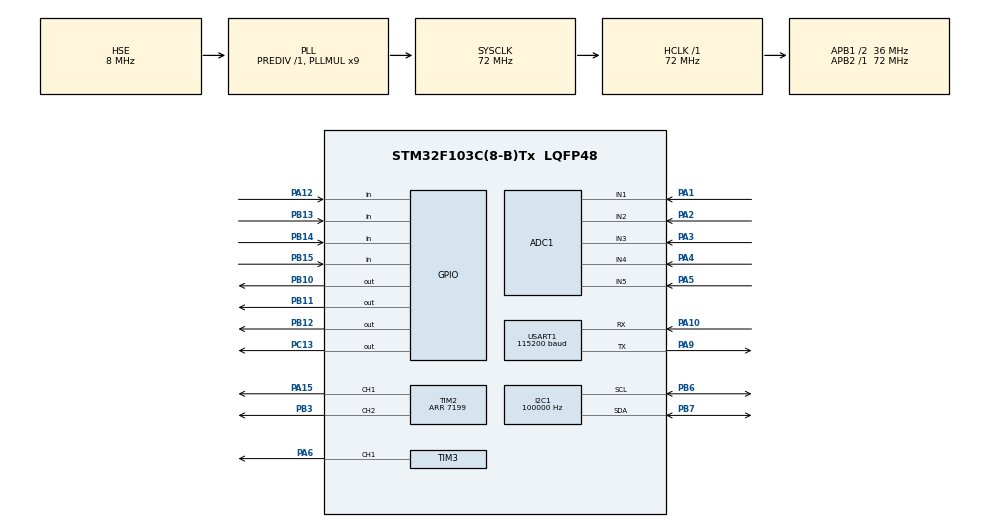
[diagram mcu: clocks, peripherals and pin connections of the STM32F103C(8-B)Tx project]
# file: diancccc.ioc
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ADC1.Channel-10\#ChannelRegularConversion=ADC_CHANNEL_4
ADC1.Channel-11\#ChannelRegularConversion=ADC_CHANNEL_5
ADC1.Channel-7\#ChannelRegularConversion=ADC_CHANNEL_1
ADC1.Channel-8\#ChannelRegularConversion=ADC_CHANNEL_2
ADC1.Channel-9\#ChannelRegularConversion=ADC_CHANNEL_3
ADC1.ContinuousConvMode=ENABLE
ADC1.NbrOfConversion=5
ADC1.NbrOfConversionFlag=1
ADC1.Rank-10\#ChannelRegularConversion=4
ADC1.Rank-11\#ChannelRegularConversion=5
ADC1.Rank-7\#ChannelRegularConversion=1
ADC1.Rank-8\#ChannelRegularConversion=2
ADC1.Rank-9\#ChannelRegularConversion=3
ADC1.SamplingTime-10\#ChannelRegularConversion=ADC_SAMPLETIME_13CYCLES_5
ADC1.SamplingTime-11\#ChannelRegularConversion=ADC_SAMPLETIME_13CYCLES_5
ADC1.SamplingTime-7\#ChannelRegularConversion=ADC_SAMPLETIME_13CYCLES_5
ADC1.SamplingTime-8\#ChannelRegularConversion=ADC_SAMPLETIME_13CYCLES_5
ADC1.SamplingTime-9\#ChannelRegularConversion=ADC_SAMPLETIME_13CYCLES_5
ADC1.master=1
Dma.ADC1.0.Direction=DMA_PERIPH_TO_MEMORY
Dma.ADC1.0.Instance=DMA1_Channel1
Dma.ADC1.0.MemDataAlignment=DMA_MDATAALIGN_HALFWORD
Dma.ADC1.0.MemInc=DMA_MINC_ENABLE
Dma.ADC1.0.Mode=DMA_CIRCULAR
Dma.ADC1.0.PeriphDataAlignment=DMA_PDATAALIGN_HALFWORD
Dma.ADC1.0.PeriphInc=DMA_PINC_DISABLE
Dma.ADC1.0.Priority=DMA_PRIORITY_LOW
Dma.Request0=ADC1
I2C1.ClockSpeed=100000
Mcu.Family=STM32F1
Mcu.Name=STM32F103C(8-B)Tx
Mcu.Package=LQFP48
NVIC.DMA1_Channel1_IRQn=true\:0\:0\:false\:false\:true\:false\:true\:true
NVIC.PriorityGroup=NVIC_PRIORITYGROUP_4
NVIC.TIM4_IRQn=true\:0\:0\:false\:false\:true\:true\:true\:true
NVIC.USART1_IRQn=true\:0\:0\:false\:false\:true\:true\:true\:true
PA1.Signal=ADCx_IN1
PA10.Mode=Asynchronous
PA10.Signal=USART1_RX
PA12.Signal=GPIO_Input
PA13.Mode=Serial_Wire
PA13.Signal=SYS_JTMS-SWDIO
PA14.Mode=Serial_Wire
PA14.Signal=SYS_JTCK-SWCLK
PA15.Signal=S_TIM2_CH1_ETR
PA2.Signal=ADCx_IN2
PA3.Signal=ADCx_IN3
PA4.Signal=ADCx_IN4
PA5.Signal=ADCx_IN5
PA6.Signal=S_TIM3_CH1
PA9.Mode=Asynchronous
PA9.Signal=USART1_TX
PB10.Signal=GPIO_Output
PB11.Signal=GPIO_Output
PB12.Signal=GPIO_Output
PB13.Signal=GPIO_Input
PB14.Signal=GPIO_Input
PB15.GPIO_PuPd=GPIO_PULLUP
PB15.Signal=GPIO_Input
PB3.Signal=S_TIM2_CH2
PB6.Mode=I2C
PB6.Signal=I2C1_SCL
PB7.Mode=I2C
PB7.Signal=I2C1_SDA
PC13-TAMPER-RTC.Signal=GPIO_Output
PD0-OSC_IN.Mode=HSE-External-Oscillator
PD0-OSC_IN.Signal=RCC_OSC_IN
PD1-OSC_OUT.Mode=HSE-External-Oscillator
PD1-OSC_OUT.Signal=RCC_OSC_OUT
ProjectManager.HeapSize=0x200
ProjectManager.StackSize=0x400
ProjectManager.TargetToolchain=MDK-ARM V5.32
RCC.ADCPresc=RCC_ADCPCLK2_DIV6
RCC.AHBFreq_Value=72000000
RCC.APB1CLKDivider=RCC_HCLK_DIV2
RCC.APB1Freq_Value=36000000
RCC.APB1TimFreq_Value=72000000
RCC.APB2Freq_Value=72000000
RCC.APB2TimFreq_Value=72000000
RCC.HCLKFreq_Value=72000000
RCC.PLLMUL=RCC_PLL_MUL9
RCC.PLLSourceVirtual=RCC_PLLSOURCE_HSE
RCC.SYSCLKFreq_VALUE=72000000
RCC.SYSCLKSource=RCC_SYSCLKSOURCE_PLLCLK
RCC.USBFreq_Value=72000000
SH.ADCx_IN1.0=ADC1_IN1,IN1
SH.ADCx_IN2.0=ADC1_IN2,IN2
SH.ADCx_IN3.0=ADC1_IN3,IN3
SH.ADCx_IN4.0=ADC1_IN4,IN4
SH.ADCx_IN5.0=ADC1_IN5,IN5
SH.S_TIM2_CH1_ETR.0=TIM2_CH1,PWM Generation1 CH1
SH.S_TIM2_CH2.0=TIM2_CH2,PWM Generation2 CH2
SH.S_TIM3_CH1.0=TIM3_CH1,PWM Generation1 CH1
TIM2.Channel-PWM\ Generation1\ CH1=TIM_CHANNEL_1
TIM2.Channel-PWM\ Generation2\ CH2=TIM_CHANNEL_2
TIM2.Period=7199
TIM3.Channel-PWM\ Generation1\ CH1=TIM_CHANNEL_1
TIM3.Period=19999
TIM3.Prescaler=71
TIM4.Period=9999
TIM4.Prescaler=71
USART1.BaudRate=115200
USART1.VirtualMode=VM_ASYNC
VP_TIM2_VS_ClockSourceINT.Mode=Internal
VP_TIM3_VS_ClockSourceINT.Mode=Internal
VP_TIM4_VS_ClockSourceINT.Mode=Internal
board=custom

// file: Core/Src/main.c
/* USER CODE BEGIN Header */
/**
  ******************************************************************************
  * @file           : main.c
  * @brief          : Main program body
  ******************************************************************************
  * @attention
  *
  * Copyright (c) 2024 STMicroelectronics.
  * All rights reserved.
  *
  * This software is licensed under terms that can be found in the LICENSE file
  * in the root directory of this software component.
  * If no LICENSE file comes with this software, it is provided AS-IS.
  *
  ******************************************************************************
  */
/* USER CODE END Header */
#include "main.h"
#include "adc.h"
#include "dma.h"
#include "i2c.h"
#include "tim.h"
#include "usart.h"
#include "gpio.h"

/* USER CODE BEGIN Includes */
#include "adc1.h"
#include "oled.h"
#include <stdio.h>
#include "usart1.h"
/* USER CODE END Includes */

/* USER CODE BEGIN PTD */
int key_flag,count,time,moshi;
int huoer_flag=0;
char str[80]={0};
int i=0,b=0,c=0;
int time_flag_h,h;
int pppwww;
int flag_s=0;
int shizhi_flag=0;
int aa,aa1,aa2=0;
int sudu=3000;
int fputc(int ch, FILE *f)
{
HAL_UART_Transmit (&huart1 ,(uint8_t *)&ch,1,0xFFFF);
	return ch;

}
void key(void)
{
   if((HAL_GPIO_ReadPin(GPIOB, GPIO_PIN_15)==GPIO_PIN_RESET)&&key_flag==0)
	 {
	     key_flag=1;
	 }
   if((HAL_GPIO_ReadPin(GPIOB, GPIO_PIN_15)==GPIO_PIN_SET)&&key_flag==1)
	 {
	     key_flag=0;
		   count=0;
		   time=0;
		   moshi++;
		   if(moshi==3)
			 {
			    moshi=0;
			 }
	 }
}
void oled_disp(void)
{

	    sprintf(str,"%04d        %04d",adc_val [0], adc_val [4]);
      OLED_ShowString(0,0,(uint8_t*)str,12);
		  sprintf(str,"   %04d  %04d  ",adc_val [1], adc_val [2]);
      OLED_ShowString(0,1,(uint8_t*)str,12);
		  sprintf(str,"      %04d  ", adc_val [3]);
      OLED_ShowString(0,2,(uint8_t*)str,12);
	    sprintf(str,"    %.2f %.2f  ", AD_left2,AD_right2);
      OLED_ShowString(0,3,(uint8_t*)str,12);
      sprintf(str,"    %.2f   ", position_2 );
      OLED_ShowString(0,4,(uint8_t*)str,12);
      sprintf(str,"    %d %d ", b,aa );
      OLED_ShowString(0,5,(uint8_t*)str,12);
}
void huandao (void )
{
if(adc_val [4]>=1800&&adc_val[2]>=2500&&b==0)
{
	b=1;
flag_s=1;
}
if(adc_val [4]>=1800&&adc_val[2]>=2500&&b==2)
{
	c=0;
	b=0;
flag_s=0;
}

}
void sancai(void)
{
	if((adc_val [0]>=600&&adc_val [4]>=600&&adc_val [2]<900&&adc_val [1]<900)&&aa==0)
	{
	flag_s=2;
	}
	if((adc_val [0]>=600&&adc_val [4]>=600&&adc_val [2]<1000&&adc_val [1]<1000)&&aa==1 )
	{
	flag_s=3;

	}

}
void shizhi(void )
{
if(adc_val [3]>=2000)
{
 flag_s=2;
	shizhi_flag=1;
}
if(adc_val [3]>=2000&&shizhi_flag==1)
{
flag_s=0;
}
}

void huoer (void)
{
	if(HAL_GPIO_ReadPin (GPIOA,GPIO_PIN_12 )==GPIO_PIN_RESET&& huoer_flag ==0)
	{
	huoer_flag =1;

	}

}
void HAL_TIM_PeriodElapsedCallback(TIM_HandleTypeDef*htim)
{
	if(htim->Instance==TIM4)
	{
		time++;
		//adc_read();
		//printf("%lf,%lf,%lf\n",position_2,AD_left2,AD_right2 );
		if(moshi ==1)
		{
				huandao ();
			 sancai();
			if(flag_s ==0)
			{
		  guiyi_adc ();
	    chabihe_adc_2();
		  pppwww=1040+pid_2 ();
		Set_Pwm(sudu,sudu,pppwww);
			}
			else if (flag_s==1)
			{
				if(c<=179)
				{
					c++;
			Set_Pwm(sudu,sudu,1150);
				}
				else if(c>179)
				{
					b=2;
			guiyi_adc ();
	    chabihe_adc_2();

		  pppwww=1040+pid_2 ();
		  Set_Pwm(sudu,sudu,pppwww);

			}

			}
			else if(flag_s==2)
			{

					if(aa2<100)
					{
						aa2++;
						aa1++;
						Set_Pwm(sudu,sudu,1210);
					}
					else if(aa2>=100)
					{
						aa1++;
			guiyi_adc ();
	    chabihe_adc_2();
		  pppwww=1040+pid_2 ();
		Set_Pwm(sudu,sudu,pppwww);
					}

				if(aa1>=300)
				{
				aa1=0;
			  aa2 =0;
				aa=1;
			 flag_s=0;
				}
			}

			else if(flag_s ==3)
			{
				if(aa2<100)
					{
						aa2++;
						aa1++;
						Set_Pwm(sudu,sudu,700);
					}
					else if(aa2>=100)
					{
						aa1++;
			guiyi_adc ();
	    chabihe_adc_2();
		  pppwww=1040+pid_2 ();
		Set_Pwm(sudu,sudu,pppwww);
					}

				if(aa1>=sudu)
				{
				aa1=0;
			 flag_s=0;
			}
		}
			else if(flag_s ==4)
			{

			}

//			if(adc_val [0]>1700)
//			{
//			Set_Pwm(5000,5000,760);
//			}
//			if(adc_val [4]>1700)
//			{
//			Set_Pwm(5000,5000,1360);
//			}
		}
		if(moshi ==0)
		{
		Set_Pwm (0,0,1040);

		}

		if(moshi ==2)
		{
		guiyi_adc ();
	    chabihe_adc_2();
		pid_section();
		pppwww=1040+pid_2 ();
		Set_Pwm(0,0,pppwww);
		if(adc_val [0]>1700)
			{
			Set_Pwm(0,0,660);
			}
			if(adc_val [4]>1700)
			{
			Set_Pwm(0,0,1460);
			}

		}
//		if(huoer_flag !=0)
//		{
//			    h++;
//			if(h==1)
//			{
//		        time_flag_h=time;
//			}
//			    Set_Pwm(1000,1000,700);
//				if((time-time_flag_h)>=200)
//				{
//				Set_Pwm(1000,1000,1000);
//				huoer_flag=0;
//					h=0;
//				}
//		 }
//		if(huoer_flag ==0)
//		{
//        adc_read();
//		guiyi_adc ();
//
//		Set_Pwm(1000,1000,1000);
//
//		}

				     //停车

	}

	}

/* USER CODE END PTD */

void SystemClock_Config(void);

int main(void)
{

  /* MCU Configuration--------------------------------------------------------*/

  /* Reset of all peripherals, Initializes the Flash interface and the Systick. */
  HAL_Init();

  /* Configure the system clock */
  SystemClock_Config();

  /* Initialize all configured peripherals */
  MX_GPIO_Init();
  MX_DMA_Init();
  MX_TIM2_Init();
  MX_ADC1_Init();
  MX_I2C1_Init();
  MX_TIM3_Init();
  MX_TIM4_Init();
  MX_USART1_UART_Init();
  /* USER CODE BEGIN 2 */
  OLED_Init();
  motor_int ();
  OLED_Clear ();
  HAL_TIM_Base_Start_IT (&htim4 );
  HAL_ADCEx_Calibration_Start (&hadc1);
  //HAL_UART_Receive_IT(&huart1, (uint8_t *)RxBuffer, 1);
  Set_Pwm(0,0,1040);//+420 1460 右转  -380 660 左转 中间 1040
  //HAL_Delay (1000);
  //Set_Pwm(7200,7200,1070);
  /* USER CODE END 2 */

  /* Infinite loop */
  /* USER CODE BEGIN WHILE */
  while (1)
  {
	  //huoer ();
	  adc_read();
		//printf("%lf,%lf,%lf\n",position_2,AD_left2,AD_right2 )
		//huandao ();
		//sancai ();
		//shizhi ();
	  //oled_disp();
	  key();
    /* USER CODE END WHILE */

  }
}

void SystemClock_Config(void)
{
  RCC_OscInitTypeDef RCC_OscInitStruct = {0};
  RCC_ClkInitTypeDef RCC_ClkInitStruct = {0};
  RCC_PeriphCLKInitTypeDef PeriphClkInit = {0};

  /** Initializes the RCC Oscillators according to the specified parameters
  * in the RCC_OscInitTypeDef structure.
  */
  RCC_OscInitStruct.OscillatorType = RCC_OSCILLATORTYPE_HSE;
  RCC_OscInitStruct.HSEState = RCC_HSE_ON;
  RCC_OscInitStruct.HSEPredivValue = RCC_HSE_PREDIV_DIV1;
  RCC_OscInitStruct.HSIState = RCC_HSI_ON;
  RCC_OscInitStruct.PLL.PLLState = RCC_PLL_ON;
  RCC_OscInitStruct.PLL.PLLSource = RCC_PLLSOURCE_HSE;
  RCC_OscInitStruct.PLL.PLLMUL = RCC_PLL_MUL9;
  if (HAL_RCC_OscConfig(&RCC_OscInitStruct) != HAL_OK)
  {
    Error_Handler();
  }

  /** Initializes the CPU, AHB and APB buses clocks
  */
  RCC_ClkInitStruct.ClockType = RCC_CLOCKTYPE_HCLK|RCC_CLOCKTYPE_SYSCLK
                              |RCC_CLOCKTYPE_PCLK1|RCC_CLOCKTYPE_PCLK2;
  RCC_ClkInitStruct.SYSCLKSource = RCC_SYSCLKSOURCE_PLLCLK;
  RCC_ClkInitStruct.AHBCLKDivider = RCC_SYSCLK_DIV1;
  RCC_ClkInitStruct.APB1CLKDivider = RCC_HCLK_DIV2;
  RCC_ClkInitStruct.APB2CLKDivider = RCC_HCLK_DIV1;

  if (HAL_RCC_ClockConfig(&RCC_ClkInitStruct, FLASH_LATENCY_2) != HAL_OK)
  {
    Error_Handler();
  }
  PeriphClkInit.PeriphClockSelection = RCC_PERIPHCLK_ADC;
  PeriphClkInit.AdcClockSelection = RCC_ADCPCLK2_DIV6;
  if (HAL_RCCEx_PeriphCLKConfig(&PeriphClkInit) != HAL_OK)
  {
    Error_Handler();
  }
}

void Error_Handler(void)
{
  __disable_irq();
  while (1)
  {
  }
}
